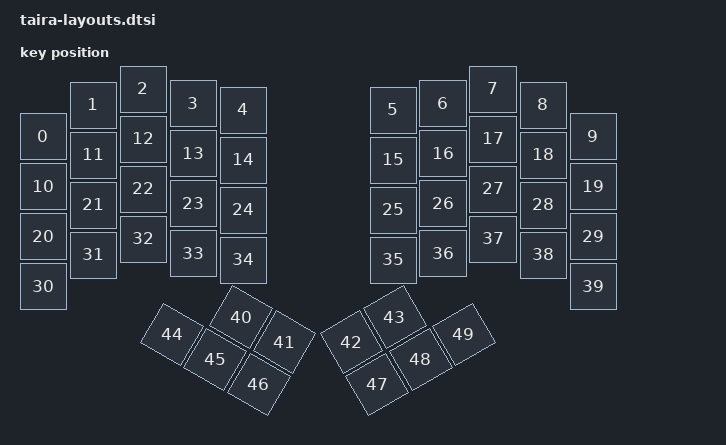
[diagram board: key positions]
 #include <physical_layouts.dtsi>

/ {
    physical_layout0: physical_layout_0 {
        compatible = "zmk,physical-layout";
        display-name = "Default";

        kscan = <&kscan0>;
        transform = <&matrix_transform0>;

        keys  //                     w   h    x    y     rot    rx    ry
            = <&key_physical_attrs 100 100    0   95       0     0     0>
            , <&key_physical_attrs 100 100  100   32       0     0     0>
            , <&key_physical_attrs 100 100  200    0       0     0     0>
            , <&key_physical_attrs 100 100  300   29       0     0     0>
            , <&key_physical_attrs 100 100  400   42       0     0     0>
            , <&key_physical_attrs 100 100  700   42       0     0     0>
            , <&key_physical_attrs 100 100  800   29       0     0     0>
            , <&key_physical_attrs 100 100  900    0       0     0     0>
            , <&key_physical_attrs 100 100 1000   32       0     0     0>
            , <&key_physical_attrs 100 100 1100   95       0     0     0>
            , <&key_physical_attrs 100 100    0  195       0     0     0>
            , <&key_physical_attrs 100 100  100  132       0     0     0>
            , <&key_physical_attrs 100 100  200  100       0     0     0>
            , <&key_physical_attrs 100 100  300  129       0     0     0>
            , <&key_physical_attrs 100 100  400  142       0     0     0>
            , <&key_physical_attrs 100 100  700  142       0     0     0>
            , <&key_physical_attrs 100 100  800  129       0     0     0>
            , <&key_physical_attrs 100 100  900  100       0     0     0>
            , <&key_physical_attrs 100 100 1000  132       0     0     0>
            , <&key_physical_attrs 100 100 1100  195       0     0     0>
            , <&key_physical_attrs 100 100    0  295       0     0     0>
            , <&key_physical_attrs 100 100  100  232       0     0     0>
            , <&key_physical_attrs 100 100  200  200       0     0     0>
            , <&key_physical_attrs 100 100  300  229       0     0     0>
            , <&key_physical_attrs 100 100  400  242       0     0     0>
            , <&key_physical_attrs 100 100  700  242       0     0     0>
            , <&key_physical_attrs 100 100  800  229       0     0     0>
            , <&key_physical_attrs 100 100  900  200       0     0     0>
            , <&key_physical_attrs 100 100 1000  232       0     0     0>
            , <&key_physical_attrs 100 100 1100  295       0     0     0>
            , <&key_physical_attrs 100 100    0  395       0     0     0>
            , <&key_physical_attrs 100 100  100  332       0     0     0>
            , <&key_physical_attrs 100 100  200  300       0     0     0>
            , <&key_physical_attrs 100 100  300  329       0     0     0>
            , <&key_physical_attrs 100 100  400  342       0     0     0>
            , <&key_physical_attrs 100 100  700  342       0     0     0>
            , <&key_physical_attrs 100 100  800  329       0     0     0>
            , <&key_physical_attrs 100 100  900  300       0     0     0>
            , <&key_physical_attrs 100 100 1000  332       0     0     0>
            , <&key_physical_attrs 100 100 1100  395       0     0     0>
            , <&key_physical_attrs 100 100  370  455    3000   430   555>
            , <&key_physical_attrs 100 100  470  455    3000   430   555>
            , <&key_physical_attrs 100 100  630  455 (-3000)   770   555>
            , <&key_physical_attrs 100 100  730  455 (-3000)   770   555>
            , <&key_physical_attrs 100 100  170  580    3000   430   750>
            , <&key_physical_attrs 100 100  270  580    3000   430   750>
            , <&key_physical_attrs 100 100  370  580    3000   430   750>
            , <&key_physical_attrs 100 100  730  580 (-3000)   770   750>
            , <&key_physical_attrs 100 100  830  580 (-3000)   770   750>
            , <&key_physical_attrs 100 100  930  580 (-3000)   770   750>
            ;
    };
};
